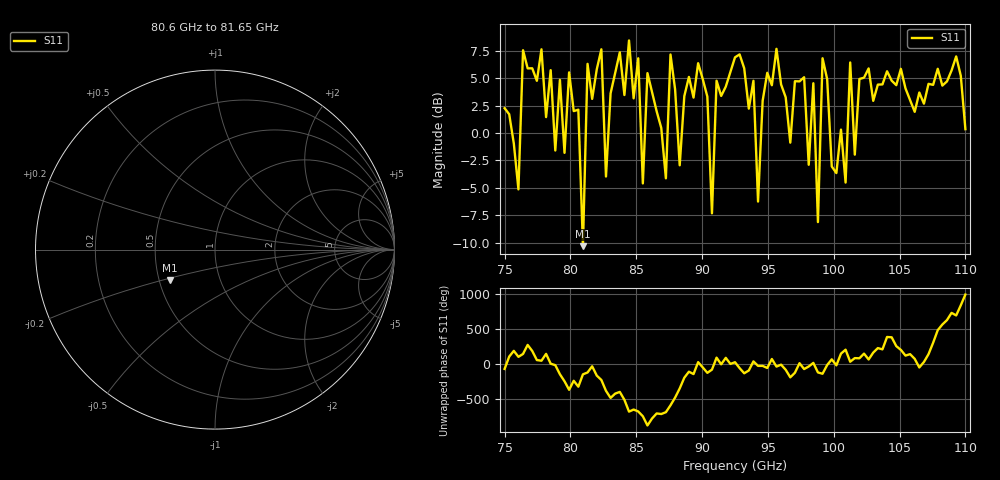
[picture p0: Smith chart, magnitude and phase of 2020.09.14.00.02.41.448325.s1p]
!Created with skrf (http://scikit-rf.org).
# GHz S RI R 50.0
!freq ReS11 ImS11
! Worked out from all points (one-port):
!   101 points, 75 GHz to 110 GHz, reference 50 ohm
!   lowest |S11| = -10.3 dB at 80.95 GHz (marker M1), VSWR 1.87, Z = 28.4 - j10.6 ohm
!   |S11| at or under -10 dB: 80.9406 GHz to 80.95704 GHz (16.44 MHz wide, 0.0203 % of centre)
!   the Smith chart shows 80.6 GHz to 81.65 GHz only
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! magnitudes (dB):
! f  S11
! 75 GHz  2.3
! 79.55 GHz  -1.8
! 80.6 GHz  2.1
! 80.95 GHz  -10.3
! 81.3 GHz  6.3
! 82.35 GHz  7.7
! 82.7 GHz  -4.0
! 83.75 GHz  7.4
! 85.15 GHz  6.8
! 85.5 GHz  -4.6
! 85.85 GHz  5.5
! 87.25 GHz  -4.1
! 87.6 GHz  7.2
! 88.3 GHz  -2.9
! 89.7 GHz  6.4
! 90.75 GHz  -7.3
! 91.1 GHz  4.8
! 92.5 GHz  6.9
! 94.25 GHz  -6.3
! 94.95 GHz  5.5
! 97.05 GHz  4.7
! 98.45 GHz  4.6
! 98.8 GHz  -8.1
! 99.15 GHz  6.8
! 100.9 GHz  -4.5
! 101.2 GHz  6.5
! 105.8 GHz  3.0
! 110 GHz  0.4
